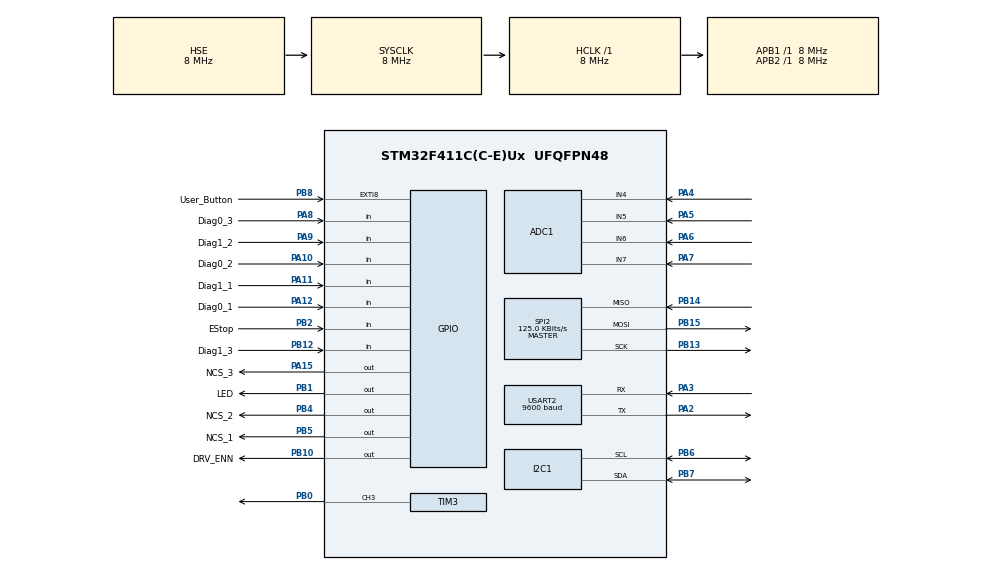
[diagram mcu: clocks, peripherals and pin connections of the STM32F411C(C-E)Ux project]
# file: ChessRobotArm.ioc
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ADC1.Channel-0\#ChannelRegularConversion=ADC_CHANNEL_5
ADC1.ClockPrescaler=ADC_CLOCK_SYNC_PCLK_DIV2
ADC1.NbrOfConversionFlag=1
ADC1.Rank-0\#ChannelRegularConversion=1
ADC1.SamplingTime-0\#ChannelRegularConversion=ADC_SAMPLETIME_3CYCLES
ADC1.master=1
Dma.Request0=SPI2_TX
Dma.SPI2_TX.0.Direction=DMA_MEMORY_TO_PERIPH
Dma.SPI2_TX.0.FIFOMode=DMA_FIFOMODE_DISABLE
Dma.SPI2_TX.0.Instance=DMA1_Stream4
Dma.SPI2_TX.0.MemDataAlignment=DMA_MDATAALIGN_BYTE
Dma.SPI2_TX.0.MemInc=DMA_MINC_ENABLE
Dma.SPI2_TX.0.Mode=DMA_NORMAL
Dma.SPI2_TX.0.PeriphDataAlignment=DMA_PDATAALIGN_BYTE
Dma.SPI2_TX.0.PeriphInc=DMA_PINC_DISABLE
Dma.SPI2_TX.0.Priority=DMA_PRIORITY_LOW
Mcu.Family=STM32F4
Mcu.Name=STM32F411C(C-E)Ux
Mcu.Package=UFQFPN48
NVIC.DMA1_Stream4_IRQn=true\:0\:0\:false\:false\:true\:false\:true\:true
NVIC.EXTI9_5_IRQn=true\:0\:0\:false\:false\:true\:true\:true\:true
NVIC.PriorityGroup=NVIC_PRIORITYGROUP_4
NVIC.SPI2_IRQn=true\:0\:0\:false\:false\:true\:true\:true\:true
NVIC.TIM3_IRQn=true\:0\:0\:false\:false\:true\:true\:true\:true
PA10.GPIO_Label=Diag0_2
PA10.Signal=GPIO_Input
PA11.GPIO_Label=Diag1_1
PA11.Signal=GPIO_Input
PA12.GPIO_Label=Diag0_1
PA12.Signal=GPIO_Input
PA13.Mode=Trace_Asynchronous_SW
PA13.Signal=SYS_JTMS-SWDIO
PA14.Mode=Trace_Asynchronous_SW
PA14.Signal=SYS_JTCK-SWCLK
PA15.GPIO_Label=NCS_3
PA15.Signal=GPIO_Output
PA2.Mode=Asynchronous
PA2.Signal=USART2_TX
PA3.Mode=Asynchronous
PA3.Signal=USART2_RX
PA4.Signal=ADCx_IN4
PA5.Signal=ADCx_IN5
PA6.Signal=ADCx_IN6
PA7.Signal=ADCx_IN7
PA8.GPIO_Label=Diag0_3
PA8.Signal=GPIO_Input
PA9.GPIO_Label=Diag1_2
PA9.Signal=GPIO_Input
PB0.Signal=S_TIM3_CH3
PB1.GPIO_Label=LED
PB1.Signal=GPIO_Output
PB10.GPIO_Label=DRV_ENN
PB10.Signal=GPIO_Output
PB12.GPIO_Label=Diag1_3
PB12.Signal=GPIO_Input
PB13.Mode=Full_Duplex_Master
PB13.Signal=SPI2_SCK
PB14.Mode=Full_Duplex_Master
PB14.Signal=SPI2_MISO
PB15.Mode=Full_Duplex_Master
PB15.Signal=SPI2_MOSI
PB2.GPIO_Label=EStop
PB2.Signal=GPIO_Input
PB3.Mode=Trace_Asynchronous_SW
PB3.Signal=SYS_JTDO-SWO
PB4.GPIO_Label=NCS_2
PB4.Signal=GPIO_Output
PB5.GPIO_Label=NCS_1
PB5.Signal=GPIO_Output
PB6.Mode=I2C
PB6.Signal=I2C1_SCL
PB7.Mode=I2C
PB7.Signal=I2C1_SDA
PB8.GPIO_Label=User_Button
PB8.Signal=GPXTI8
PH0\ -\ OSC_IN.Mode=HSE-External-Oscillator
PH0\ -\ OSC_IN.Signal=RCC_OSC_IN
PH1\ -\ OSC_OUT.Mode=HSE-External-Oscillator
PH1\ -\ OSC_OUT.Signal=RCC_OSC_OUT
ProjectManager.HeapSize=0x200
ProjectManager.StackSize=0x400
ProjectManager.TargetToolchain=STM32CubeIDE
RCC.48MHZClocksFreq_Value=24000000
RCC.AHBFreq_Value=8000000
RCC.APB1Freq_Value=8000000
RCC.APB1TimFreq_Value=8000000
RCC.APB2Freq_Value=8000000
RCC.APB2TimFreq_Value=8000000
RCC.CortexFreq_Value=8000000
RCC.HCLKFreq_Value=8000000
RCC.HSE_VALUE=8000000
RCC.HSI_VALUE=16000000
RCC.LSE_VALUE=32768
RCC.PLLSourceVirtual=RCC_PLLSOURCE_HSE
RCC.SYSCLKFreq_VALUE=8000000
RCC.SYSCLKSource=RCC_SYSCLKSOURCE_HSE
RCC.VCOOutputFreq_Value=96000000
SH.ADCx_IN4.0=ADC1_IN4,IN4
SH.ADCx_IN5.0=ADC1_IN5,IN5
SH.ADCx_IN6.0=ADC1_IN6,IN6
SH.ADCx_IN7.0=ADC1_IN7,IN7
SH.S_TIM3_CH3.0=TIM3_CH3,PWM Generation3 CH3
SPI2.BaudRatePrescaler=SPI_BAUDRATEPRESCALER_64
SPI2.CalculateBaudRate=125.0 KBits/s
SPI2.Direction=SPI_DIRECTION_2LINES
SPI2.Mode=SPI_MODE_MASTER
SPI2.VirtualType=VM_MASTER
TIM3.Channel-PWM\ Generation3\ CH3=TIM_CHANNEL_3
TIM3.Period=39999
USART2.BaudRate=9600
USART2.VirtualMode=VM_ASYNC
board=custom

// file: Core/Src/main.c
/* USER CODE BEGIN Header */
/**
  ******************************************************************************
  * @file           : main.c
  * @brief          : Main program body
  ******************************************************************************
  * @attention
  *
  * Copyright (c) 2026 STMicroelectronics.
  * All rights reserved.
  *
  * This software is licensed under terms that can be found in the LICENSE file
  * in the root directory of this software component.
  * If no LICENSE file comes with this software, it is provided AS-IS.
  *
  ******************************************************************************
  */
/* USER CODE END Header */
#include "main.h"

/* USER CODE BEGIN Includes */
#include "Joystick.h"
#include "StepperMotorDriver.h"
#include <stdio.h>
#include <string.h>
/* USER CODE END Includes */

/* USER CODE BEGIN PTD */

typedef enum
{
	STATE_CLOSED,
	STATE_OPEN
} SystemState_t;

SystemState_t currentState = STATE_CLOSED;

/* USER CODE END PTD */

/* USER CODE BEGIN PD */

volatile uint8_t adc_request = 0;
uint16_t adc_value = 0;
uint8_t rx_data;
GPIO_PinState lastState = GPIO_PIN_RESET;

/* USER CODE END PD */

ADC_HandleTypeDef hadc1;

I2C_HandleTypeDef hi2c1;

SPI_HandleTypeDef hspi2;
DMA_HandleTypeDef hdma_spi2_tx;

TIM_HandleTypeDef htim3;

UART_HandleTypeDef huart2;

/* USER CODE BEGIN PV */

stepper_motor_driver_t motor1;
stepper_motor_driver_t motor2;
stepper_motor_driver_t motor3;

uint8_t TX_Buffer [] = "Testing" ; // DATA to send

/* USER CODE END PV */

void SystemClock_Config(void);
static void MX_GPIO_Init(void);
static void MX_DMA_Init(void);
static void MX_ADC1_Init(void);
static void MX_I2C1_Init(void);
static void MX_SPI2_Init(void);
static void MX_TIM3_Init(void);
static void MX_USART2_UART_Init(void);

int main(void)
{

  /* USER CODE BEGIN 1 */

	// Initialize the Motor Structs
	motor1.hspi = &hspi2;
	motor1.Diag0_Port = Diag0_1_GPIO_Port;
	motor1.Diag0_Pin = Diag0_1_Pin;
	motor1.Diag1_Port = Diag1_1_GPIO_Port;
	motor1.Diag1_Pin = Diag1_1_Pin;
	motor1.NCS_Port = NCS_1_GPIO_Port;
	motor1.NCS_Pin = NCS_1_Pin;

	motor2.hspi = &hspi2;
	motor2.Diag0_Port = Diag0_2_GPIO_Port;
	motor2.Diag0_Pin = Diag0_2_Pin;
	motor2.Diag1_Port = Diag1_2_GPIO_Port;
	motor2.Diag1_Pin = Diag1_2_Pin;
	motor2.NCS_Port = NCS_2_GPIO_Port;
	motor2.NCS_Pin = NCS_2_Pin;

	motor3.hspi = &hspi2;
	motor3.Diag0_Port = Diag0_3_GPIO_Port;
	motor3.Diag0_Pin = Diag0_3_Pin;
	motor3.Diag1_Port = Diag1_3_GPIO_Port;
	motor3.Diag1_Pin = Diag1_3_Pin;
	motor3.NCS_Port = NCS_3_GPIO_Port;
	motor3.NCS_Pin = NCS_3_Pin;

  /* USER CODE END 1 */

  /* MCU Configuration--------------------------------------------------------*/

  /* Reset of all peripherals, Initializes the Flash interface and the Systick. */
  HAL_Init();

  /* Configure the system clock */
  SystemClock_Config();

  /* Initialize all configured peripherals */
  MX_GPIO_Init();
  MX_DMA_Init();
  MX_ADC1_Init();
  MX_I2C1_Init();
  MX_SPI2_Init();
  MX_TIM3_Init();
  MX_USART2_UART_Init();
  /* USER CODE BEGIN 2 */

  // Initialize PB5 as NCS

//  GPIO_InitTypeDef GPIO_InitStruct = {0};
//
//  __HAL_RCC_GPIOB_CLK_ENABLE();
//
//  GPIO_InitStruct.Pin = GPIO_PIN_5;
//  GPIO_InitStruct.Mode = GPIO_MODE_OUTPUT_PP;
//  GPIO_InitStruct.Pull = GPIO_NOPULL;
//  GPIO_InitStruct.Speed = GPIO_SPEED_FREQ_HIGH;
//
//  HAL_GPIO_Init(GPIOB, &GPIO_InitStruct);

  // Set NCS to high initially
  //HAL_GPIO_WritePin(GPIOB, GPIO_PIN_5, GPIO_PIN_SET);

  //Send SPI to initialize motor
  TMC_Init(&motor2);

  // Arm UART to recieve rx in interrupt mode
  HAL_UART_Receive_IT(&huart2, &rx_data, 1);

  //Servo Motor PWM Start
  HAL_TIM_PWM_Start_IT(&htim3, TIM_CHANNEL_3);
  // Set Servo Claw to open
  __HAL_TIM_SET_COMPARE(&htim3, TIM_CHANNEL_3, SERVO_OPEN);

  /* USER CODE END 2 */

  /* Infinite loop */
  /* USER CODE BEGIN WHILE */
  HAL_Delay(1000);

  char test[] = "UART OK\r\n";
  HAL_UART_Transmit(&huart2, (uint8_t*)test, strlen(test), HAL_MAX_DELAY);

  while (1)
  {

	  //JOYSTICK TEST CODE
	  // Read Joysticks
//	  uint16_t joy_x1 = Read_ADC_Channel(&hadc1, JOYSTICK1X);
//	  uint16_t joy_y1 = Read_ADC_Channel(&hadc1, JOYSTICK1Y);
//	  uint16_t joy_x2 = Read_ADC_Channel(&hadc1, JOYSTICK2X);
//	  uint16_t joy_y2 = Read_ADC_Channel(&hadc1, JOYSTICK2Y);
//
//	  char msg[64];
//	  sprintf(msg, "X1: %u  Y1: %u    X2: %u  Y2: %u\r\n",
//			  (4096-joy_x1), joy_y1, (4096-joy_x2), joy_y2);
//
//	  HAL_UART_Transmit(&huart2, (uint8_t*)msg, strlen(msg), 100);

//	  HAL_Delay(200);
//	  HAL_GPIO_TogglePin(GPIOB, GPIO_PIN_1);

	  // SPI TEST CODE
	  // Sending SPI Transfer in Blocking mode
	  //TMC_SPI_Send40(0xAD00003200, &motor2);
//	  TMC_MoveOneRotationLeft(&motor2);
//	  HAL_Delay(2500);
//	  TMC_SPI_Send40(0xAD00000000, &motor2);
//	  HAL_Delay(2500);

	  //Test LED

//	    HAL_GPIO_TogglePin(GPIOB, GPIO_PIN_1);
//	    HAL_Delay(500);

//   // Test Crystal
//	    uint32_t sysclk = HAL_RCC_GetSysClockFreq();
//	    uint32_t hclk   = HAL_RCC_GetHCLKFreq();
//
//	    volatile uint32_t a = sysclk;
//	    volatile uint32_t b = hclk;

    /* USER CODE END WHILE */

  }
}

void SystemClock_Config(void)
{
  RCC_OscInitTypeDef RCC_OscInitStruct = {0};
  RCC_ClkInitTypeDef RCC_ClkInitStruct = {0};

  /** Configure the main internal regulator output voltage
  */
  __HAL_RCC_PWR_CLK_ENABLE();
  __HAL_PWR_VOLTAGESCALING_CONFIG(PWR_REGULATOR_VOLTAGE_SCALE1);

  /** Initializes the RCC Oscillators according to the specified parameters
  * in the RCC_OscInitTypeDef structure.
  */
  RCC_OscInitStruct.OscillatorType = RCC_OSCILLATORTYPE_HSE;
  RCC_OscInitStruct.HSEState = RCC_HSE_ON;
  RCC_OscInitStruct.PLL.PLLState = RCC_PLL_NONE;
  if (HAL_RCC_OscConfig(&RCC_OscInitStruct) != HAL_OK)
  {
    Error_Handler();
  }

  /** Initializes the CPU, AHB and APB buses clocks
  */
  RCC_ClkInitStruct.ClockType = RCC_CLOCKTYPE_HCLK|RCC_CLOCKTYPE_SYSCLK
                              |RCC_CLOCKTYPE_PCLK1|RCC_CLOCKTYPE_PCLK2;
  RCC_ClkInitStruct.SYSCLKSource = RCC_SYSCLKSOURCE_HSE;
  RCC_ClkInitStruct.AHBCLKDivider = RCC_SYSCLK_DIV1;
  RCC_ClkInitStruct.APB1CLKDivider = RCC_HCLK_DIV1;
  RCC_ClkInitStruct.APB2CLKDivider = RCC_HCLK_DIV1;

  if (HAL_RCC_ClockConfig(&RCC_ClkInitStruct, FLASH_LATENCY_0) != HAL_OK)
  {
    Error_Handler();
  }
}

static void MX_ADC1_Init(void)
{

  ADC_ChannelConfTypeDef sConfig = {0};

  /** Configure the global features of the ADC (Clock, Resolution, Data Alignment and number of conversion)
  */
  hadc1.Instance = ADC1;
  hadc1.Init.ClockPrescaler = ADC_CLOCK_SYNC_PCLK_DIV2;
  hadc1.Init.Resolution = ADC_RESOLUTION_12B;
  hadc1.Init.ScanConvMode = DISABLE;
  hadc1.Init.ContinuousConvMode = DISABLE;
  hadc1.Init.DiscontinuousConvMode = DISABLE;
  hadc1.Init.ExternalTrigConvEdge = ADC_EXTERNALTRIGCONVEDGE_NONE;
  hadc1.Init.ExternalTrigConv = ADC_SOFTWARE_START;
  hadc1.Init.DataAlign = ADC_DATAALIGN_RIGHT;
  hadc1.Init.NbrOfConversion = 1;
  hadc1.Init.DMAContinuousRequests = DISABLE;
  hadc1.Init.EOCSelection = ADC_EOC_SINGLE_CONV;
  if (HAL_ADC_Init(&hadc1) != HAL_OK)
  {
    Error_Handler();
  }

  /** Configure for the selected ADC regular channel its corresponding rank in the sequencer and its sample time.
  */
  sConfig.Channel = ADC_CHANNEL_5;
  sConfig.Rank = 1;
  sConfig.SamplingTime = ADC_SAMPLETIME_3CYCLES;
  if (HAL_ADC_ConfigChannel(&hadc1, &sConfig) != HAL_OK)
  {
    Error_Handler();
  }

}

static void MX_I2C1_Init(void)
{

  hi2c1.Instance = I2C1;
  hi2c1.Init.ClockSpeed = 100000;
  hi2c1.Init.DutyCycle = I2C_DUTYCYCLE_2;
  hi2c1.Init.OwnAddress1 = 0;
  hi2c1.Init.AddressingMode = I2C_ADDRESSINGMODE_7BIT;
  hi2c1.Init.DualAddressMode = I2C_DUALADDRESS_DISABLE;
  hi2c1.Init.OwnAddress2 = 0;
  hi2c1.Init.GeneralCallMode = I2C_GENERALCALL_DISABLE;
  hi2c1.Init.NoStretchMode = I2C_NOSTRETCH_DISABLE;
  if (HAL_I2C_Init(&hi2c1) != HAL_OK)
  {
    Error_Handler();
  }

}

static void MX_SPI2_Init(void)
{

  /* SPI2 parameter configuration*/
  hspi2.Instance = SPI2;
  hspi2.Init.Mode = SPI_MODE_MASTER;
  hspi2.Init.Direction = SPI_DIRECTION_2LINES;
  hspi2.Init.DataSize = SPI_DATASIZE_8BIT;
  hspi2.Init.CLKPolarity = SPI_POLARITY_LOW;
  hspi2.Init.CLKPhase = SPI_PHASE_1EDGE;
  hspi2.Init.NSS = SPI_NSS_SOFT;
  hspi2.Init.BaudRatePrescaler = SPI_BAUDRATEPRESCALER_64;
  hspi2.Init.FirstBit = SPI_FIRSTBIT_MSB;
  hspi2.Init.TIMode = SPI_TIMODE_DISABLE;
  hspi2.Init.CRCCalculation = SPI_CRCCALCULATION_DISABLE;
  hspi2.Init.CRCPolynomial = 10;
  if (HAL_SPI_Init(&hspi2) != HAL_OK)
  {
    Error_Handler();
  }

}

static void MX_TIM3_Init(void)
{

  TIM_MasterConfigTypeDef sMasterConfig = {0};
  TIM_OC_InitTypeDef sConfigOC = {0};

  htim3.Instance = TIM3;
  htim3.Init.Prescaler = 0;
  htim3.Init.CounterMode = TIM_COUNTERMODE_UP;
  htim3.Init.Period = 39999;
  htim3.Init.ClockDivision = TIM_CLOCKDIVISION_DIV1;
  htim3.Init.AutoReloadPreload = TIM_AUTORELOAD_PRELOAD_DISABLE;
  if (HAL_TIM_PWM_Init(&htim3) != HAL_OK)
  {
    Error_Handler();
  }
  sMasterConfig.MasterOutputTrigger = TIM_TRGO_RESET;
  sMasterConfig.MasterSlaveMode = TIM_MASTERSLAVEMODE_DISABLE;
  if (HAL_TIMEx_MasterConfigSynchronization(&htim3, &sMasterConfig) != HAL_OK)
  {
    Error_Handler();
  }
  sConfigOC.OCMode = TIM_OCMODE_PWM1;
  sConfigOC.Pulse = 0;
  sConfigOC.OCPolarity = TIM_OCPOLARITY_HIGH;
  sConfigOC.OCFastMode = TIM_OCFAST_DISABLE;
  if (HAL_TIM_PWM_ConfigChannel(&htim3, &sConfigOC, TIM_CHANNEL_3) != HAL_OK)
  {
    Error_Handler();
  }
  HAL_TIM_MspPostInit(&htim3);

}

static void MX_USART2_UART_Init(void)
{

  huart2.Instance = USART2;
  huart2.Init.BaudRate = 9600;
  huart2.Init.WordLength = UART_WORDLENGTH_8B;
  huart2.Init.StopBits = UART_STOPBITS_1;
  huart2.Init.Parity = UART_PARITY_NONE;
  huart2.Init.Mode = UART_MODE_TX_RX;
  huart2.Init.HwFlowCtl = UART_HWCONTROL_NONE;
  huart2.Init.OverSampling = UART_OVERSAMPLING_16;
  if (HAL_UART_Init(&huart2) != HAL_OK)
  {
    Error_Handler();
  }

}

static void MX_DMA_Init(void)
{

  /* DMA controller clock enable */
  __HAL_RCC_DMA1_CLK_ENABLE();

  /* DMA interrupt init */
  /* DMA1_Stream4_IRQn interrupt configuration */
  HAL_NVIC_SetPriority(DMA1_Stream4_IRQn, 0, 0);
  HAL_NVIC_EnableIRQ(DMA1_Stream4_IRQn);

}

static void MX_GPIO_Init(void)
{
  GPIO_InitTypeDef GPIO_InitStruct = {0};

  /* GPIO Ports Clock Enable */
  __HAL_RCC_GPIOH_CLK_ENABLE();
  __HAL_RCC_GPIOA_CLK_ENABLE();
  __HAL_RCC_GPIOB_CLK_ENABLE();

  /*Configure GPIO pin Output Level */
  HAL_GPIO_WritePin(GPIOB, LED_Pin|DRV_ENN_Pin|NCS_2_Pin|NCS_1_Pin, GPIO_PIN_RESET);

  /*Configure GPIO pin Output Level */
  HAL_GPIO_WritePin(NCS_3_GPIO_Port, NCS_3_Pin, GPIO_PIN_RESET);

  /*Configure GPIO pins : LED_Pin DRV_ENN_Pin NCS_2_Pin NCS_1_Pin */
  GPIO_InitStruct.Pin = LED_Pin|DRV_ENN_Pin|NCS_2_Pin|NCS_1_Pin;
  GPIO_InitStruct.Mode = GPIO_MODE_OUTPUT_PP;
  GPIO_InitStruct.Pull = GPIO_NOPULL;
  GPIO_InitStruct.Speed = GPIO_SPEED_FREQ_LOW;
  HAL_GPIO_Init(GPIOB, &GPIO_InitStruct);

  /*Configure GPIO pins : EStop_Pin Diag1_3_Pin */
  GPIO_InitStruct.Pin = EStop_Pin|Diag1_3_Pin;
  GPIO_InitStruct.Mode = GPIO_MODE_INPUT;
  GPIO_InitStruct.Pull = GPIO_NOPULL;
  HAL_GPIO_Init(GPIOB, &GPIO_InitStruct);

  /*Configure GPIO pins : Diag0_3_Pin Diag1_2_Pin Diag0_2_Pin Diag1_1_Pin
                           Diag0_1_Pin */
  GPIO_InitStruct.Pin = Diag0_3_Pin|Diag1_2_Pin|Diag0_2_Pin|Diag1_1_Pin
                          |Diag0_1_Pin;
  GPIO_InitStruct.Mode = GPIO_MODE_INPUT;
  GPIO_InitStruct.Pull = GPIO_NOPULL;
  HAL_GPIO_Init(GPIOA, &GPIO_InitStruct);

  /*Configure GPIO pin : NCS_3_Pin */
  GPIO_InitStruct.Pin = NCS_3_Pin;
  GPIO_InitStruct.Mode = GPIO_MODE_OUTPUT_PP;
  GPIO_InitStruct.Pull = GPIO_NOPULL;
  GPIO_InitStruct.Speed = GPIO_SPEED_FREQ_LOW;
  HAL_GPIO_Init(NCS_3_GPIO_Port, &GPIO_InitStruct);

  /*Configure GPIO pin : User_Button_Pin */
  GPIO_InitStruct.Pin = User_Button_Pin;
  GPIO_InitStruct.Mode = GPIO_MODE_IT_RISING;
  GPIO_InitStruct.Pull = GPIO_NOPULL;
  HAL_GPIO_Init(User_Button_GPIO_Port, &GPIO_InitStruct);

  /* EXTI interrupt init*/
  HAL_NVIC_SetPriority(EXTI9_5_IRQn, 0, 0);
  HAL_NVIC_EnableIRQ(EXTI9_5_IRQn);

}

/* USER CODE BEGIN 4 */

void HAL_UART_RxCpltCallback(UART_HandleTypeDef *huart)
{
    if (huart->Instance == USART2)
    {
        adc_request = 1;   // ask main loop to read ADC

        HAL_UART_Receive_IT(&huart2, &rx_data, 1); // re-arm UART RX
    }
}

void HAL_GPIO_EXTI_Callback(uint16_t GPIO_Pin)
{
    if (GPIO_Pin == User_Button_Pin)
    {
   	 // SERVO TEST
   	 // Toggle LED
   	 // HAL_GPIO_TogglePin(LED_GPIO_Port, LED_Pin);

   	 switch(currentState)
   	 {
			  case STATE_CLOSED:
				  // Close the Claw by sending certain PWM
				  HAL_GPIO_WritePin(LED_GPIO_Port, LED_Pin, GPIO_PIN_RESET);
				  __HAL_TIM_SET_COMPARE(&htim3, TIM_CHANNEL_3, SERVO_CLOSED);
				  currentState = STATE_OPEN;
					break;

   	     case STATE_OPEN:
   	   	  // Open the Claw by sending certain PWM
   	   	  HAL_GPIO_WritePin(LED_GPIO_Port, LED_Pin, GPIO_PIN_SET);
   	   	  __HAL_TIM_SET_COMPARE(&htim3, TIM_CHANNEL_3, SERVO_OPEN);
   	   	  currentState = STATE_CLOSED;
   	         break;

   	 }

   	 //Send

    }

}

/* USER CODE END 4 */

void Error_Handler(void)
{
  __disable_irq();
  while (1)
  {
  }
}
